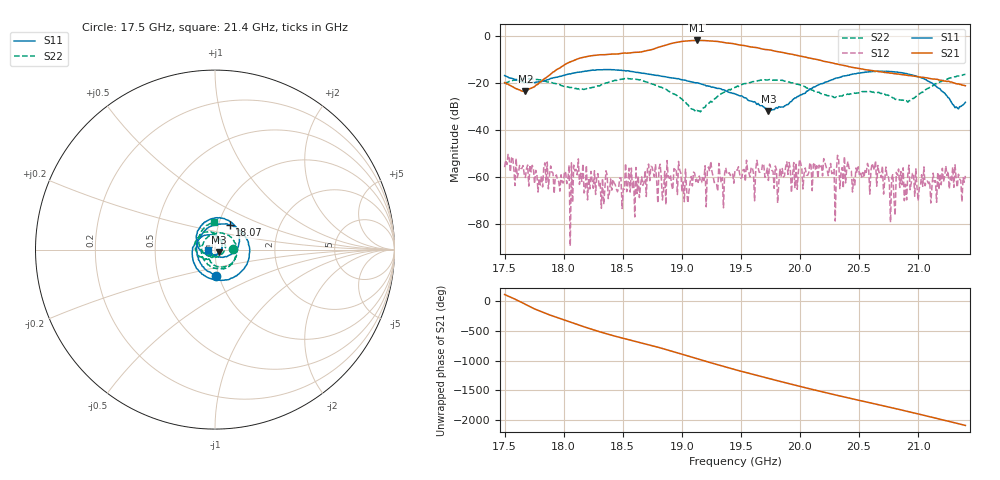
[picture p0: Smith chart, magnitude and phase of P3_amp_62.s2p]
!Created with skrf (http://scikit-rf.org).
# GHz S RI R 50.0
!freq ReS11 ImS11 ReS21 ImS21 ReS12 ImS12 ReS22 ImS22
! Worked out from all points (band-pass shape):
!   401 points, 17.5 GHz to 21.4 GHz, reference 50 ohm
!   highest |S21| = -1.76 dB at 19.13 GHz (marker M1); lowest = -23.5 dB at 17.68 GHz (marker M2)
!   |S21| within 3 dB of the highest: 18.8 GHz to 19.63 GHz (830.2 MHz wide, 4.32 % of centre)
!   lowest |S11| = -31.8 dB at 19.73 GHz (marker M3), VSWR 1.05, Z = 52.1 - j1.51 ohm
!   |S11| at or under -10 dB: start of sweep to end of sweep
!   |S22| runs from -32.2 to -16.3 dB; largest |S21 - S12| = 0.82
!   S11 on the Smith chart (normalised r, x): 17.5 GHz: 0.97, -0.29; 18.07 GHz: 1.13, +0.32; 21.4 GHz: 0.92, -0.00
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17.5  0.00776 -0.1453  -0.0327 0.0975  -0.00142 0.000761  0.0982 0.00132
17.6755  -0.096 -0.0394  0.0375 -0.0549  0.000131 0.000962  0.1038 -0.0681
18.0655  0.0814 0.1381  0.2904 -0.00739  0.00198 0.000234  -0.0729 -0.0359
18.1045  0.1106 0.1264  0.2833 -0.1466  0.00138 -0.000433  -0.0764 -0.0125
18.15325  0.1403 0.1041  0.173 -0.3048  0.0008 -4.1e-05  -0.0734 0.0197
18.3385  0.1906 -0.0396  -0.4041 -0.0267  -0.000238 9.9e-05  0.0285 0.0932
18.52375  0.0895 -0.1591  0.0633 0.4334  0.0015 -0.00123  0.1231 -0.0066
18.67975  -0.0355 -0.158  0.4796 0.0336  0.000361 -0.000657  0.0548 -0.0957
18.8065  -0.1063 -0.0983  0.2939 -0.5108  -0.00142 -0.000485  -0.00882 -0.0838
18.904  -0.126 -0.0339  -0.2894 -0.6335  -0.00101 0.000455  -0.0304 -0.0568
19.0015  -0.1154 0.0263  -0.7728 -0.1017  -0.000473 1.52e-05  -0.0324 -0.0323
19.12825  -0.0683 0.0759  -0.3048 0.7576  -0.000492 0.000805  -0.0163 -0.0205
19.294  0.000828 0.0778  0.7512 0.2093  0.000139 0.000683  -0.0196 -0.0455
19.45  0.0339 0.0485  0.2144 -0.6505  0.00138 0.000249  -0.0649 -0.0489
19.59625  0.0392 0.011  -0.501 -0.3055  0.00145 0.000636  -0.1073 -0.00591
19.73275  0.0212 -0.0144  -0.4041 0.3209  0.000751 -0.000373  -0.1024 0.0581
19.9375  -0.0313 -0.0309  0.325 0.2534  -0.000153 -0.00109  -0.0231 0.0984
20.10325  -0.0778 -0.00723  0.2441 -0.2299  3.1e-05 -0.000506  0.0142 0.0694
20.3665  -0.0972 0.1034  -0.2339 -0.0538  -0.000557 -0.000117  0.0131 0.054
20.62  0.0119 0.1781  0.036 0.1804  -0.00131 0.000974  0.0503 0.0412
20.7565  0.0866 0.1545  0.157 0.0503  0.00074 0.000162  0.0534 -0.00473
21.4  -0.0392 -0.000938  0.0284 0.0835  -0.00105 -7.71e-05  -0.00822 0.1537
